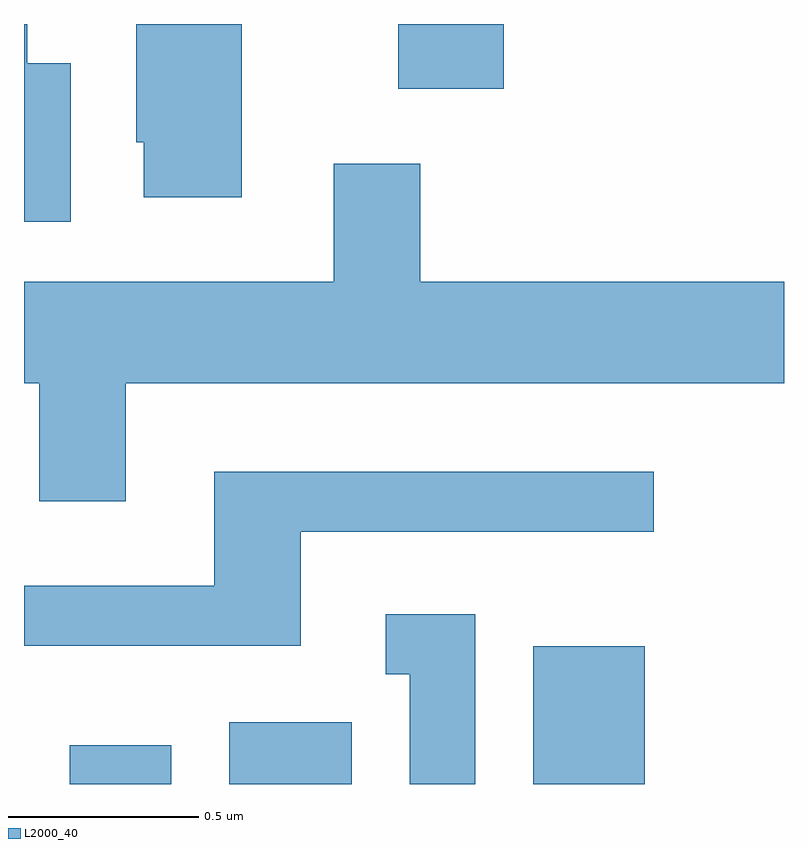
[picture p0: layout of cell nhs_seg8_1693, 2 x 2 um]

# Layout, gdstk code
import gdstk
lib = gdstk.Library(unit=1e-6, precision=1e-09)
def R(c, l, rs):  # rectangles x0, y0, x1, y1
    for r in rs: c.add(gdstk.rectangle(r[:2], r[2:], *l))
def P(c, l, *ps):  # polygons
    for p in ps: c.add(gdstk.Polygon(p, *l))
L2000_40 = (2000, 40)

nhs_seg8_1693 = lib.new_cell('nhs_seg8_1693')
R(nhs_seg8_1693, L2000_40, [(197.731,1855.342,197.999,1855.444), (198.151,1855.342,198.474,1855.504), (198.951,1855.342,199.244,1855.704), (198.596,1857.171,198.874,1857.342)])
P(nhs_seg8_1693, L2000_40, [(197.734,1857.239),(197.619,1857.239),(197.619,1857.342),(197.611,1857.342),(197.611,1856.821),(197.734,1856.821)],
  [(198.184,1857.342),(197.906,1857.342),(197.906,1857.031),(197.926,1857.031),(197.926,1856.886),(198.184,1856.886)],
  [(197.879,1856.396),(199.611,1856.396),(199.611,1856.664),(198.654,1856.664),(198.654,1856.974),(198.426,1856.974),(198.426,1856.664),(197.611,1856.664),(197.611,1856.396),(197.651,1856.396),(197.651,1856.086),(197.879,1856.086)],
  [(198.339,1856.006),(199.268,1856.006),(199.268,1856.164),(198.111,1856.164),(198.111,1855.864),(197.611,1855.864),(197.611,1855.706),(198.339,1855.706)],
  [(198.799,1855.789),(198.563,1855.789),(198.563,1855.631),(198.626,1855.631),(198.626,1855.342),(198.799,1855.342)])

lib.write_gds('nhs_seg8_1693.gds')
